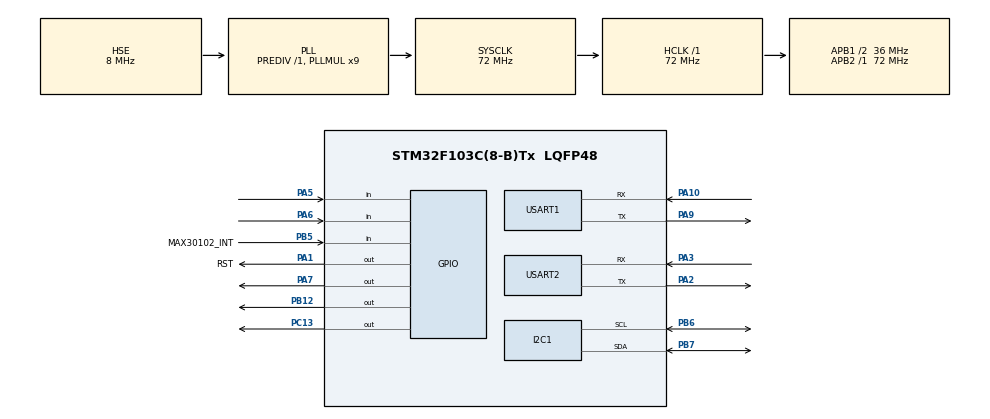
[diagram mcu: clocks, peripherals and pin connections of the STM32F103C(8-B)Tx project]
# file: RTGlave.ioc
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Mcu.Family=STM32F1
Mcu.Name=STM32F103C(8-B)Tx
Mcu.Package=LQFP48
NVIC.PriorityGroup=NVIC_PRIORITYGROUP_4
NVIC.TIM4_IRQn=true\:15\:0\:false\:false\:true\:false\:false\:true\:true
NVIC.TimeBase=TIM4_IRQn
NVIC.TimeBaseIP=TIM4
NVIC.USART2_IRQn=true\:0\:0\:false\:false\:true\:false\:true\:true\:true
PA1.GPIO_Label=RST
PA1.Signal=GPIO_Output
PA10.Mode=Asynchronous
PA10.Signal=USART1_RX
PA13.Mode=Serial_Wire
PA13.Signal=SYS_JTMS-SWDIO
PA14.Mode=Serial_Wire
PA14.Signal=SYS_JTCK-SWCLK
PA2.Mode=Asynchronous
PA2.Signal=USART2_TX
PA3.Mode=Asynchronous
PA3.Signal=USART2_RX
PA5.GPIO_PuPd=GPIO_PULLUP
PA5.Signal=GPIO_Input
PA6.GPIO_PuPd=GPIO_PULLUP
PA6.Signal=GPIO_Input
PA7.PinState=GPIO_PIN_RESET
PA7.Signal=GPIO_Output
PA9.Mode=Asynchronous
PA9.Signal=USART1_TX
PB12.Signal=GPIO_Output
PB5.GPIO_Label=MAX30102_INT
PB5.Signal=GPIO_Input
PB6.Mode=I2C
PB6.Signal=I2C1_SCL
PB7.Mode=I2C
PB7.Signal=I2C1_SDA
PC13-TAMPER-RTC.PinState=GPIO_PIN_RESET
PC13-TAMPER-RTC.Signal=GPIO_Output
PD0-OSC_IN.Mode=HSE-External-Oscillator
PD0-OSC_IN.Signal=RCC_OSC_IN
PD1-OSC_OUT.Mode=HSE-External-Oscillator
PD1-OSC_OUT.Signal=RCC_OSC_OUT
ProjectManager.HeapSize=0x200
ProjectManager.StackSize=0x400
ProjectManager.TargetToolchain=CMake
RCC.AHBFreq_Value=72000000
RCC.APB1CLKDivider=RCC_HCLK_DIV2
RCC.APB1Freq_Value=36000000
RCC.APB1TimFreq_Value=72000000
RCC.APB2Freq_Value=72000000
RCC.APB2TimFreq_Value=72000000
RCC.HCLKFreq_Value=72000000
RCC.PLLMUL=RCC_PLL_MUL9
RCC.PLLSourceVirtual=RCC_PLLSOURCE_HSE
RCC.SYSCLKFreq_VALUE=72000000
RCC.SYSCLKSource=RCC_SYSCLKSOURCE_PLLCLK
RCC.USBFreq_Value=72000000
RealThread.X-CUBE-RT-Thread_Nano.4.1.1.RTAaThreadCcRTOSJjkernel=true
RealThread.X-CUBE-RT-Thread_Nano.4.1.1.RTAaThreadCcRTOSJjlibcpu=true
RealThread.X-CUBE-RT-Thread_Nano.4.1.1.RT_DEBUG=1
RealThread.X-CUBE-RT-Thread_Nano.4.1.1.RT_USING_COMPONENTS_INIT=1
RealThread.X-CUBE-RT-Thread_Nano.4.1.1.RT_USING_CONSOLE=0
RealThread.X-CUBE-RT-Thread_Nano.4.1.1.RT_USING_EVENT=0
RealThread.X-CUBE-RT-Thread_Nano.4.1.1.RT_USING_FINSH=0
RealThread.X-CUBE-RT-Thread_Nano.4.1.1.RT_USING_MUTEX=1
RealThread.X-CUBE-RT-Thread_Nano.4.1.1.RT_USING_SEMAPHORE=0
RealThread.X-CUBE-RT-Thread_Nano.4.1.1.RT_USING_USER_MAIN=0
USART1.VirtualMode=VM_ASYNC
USART2.VirtualMode=VM_ASYNC
VP_RealThread.X-CUBE-RT-Thread_Nano_VS_RTOSJjRTAaThread_4.1.1_4.1.1.Mode=RTOSJjRTAaThread
VP_SYS_VS_tim4.Mode=TIM4
board=custom

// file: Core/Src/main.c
/* USER CODE BEGIN Header */
/**
  ******************************************************************************
  * @file           : main.c
  * @brief          : Main program body
  ******************************************************************************
  * @attention
  *
  * Copyright (c) 2026 STMicroelectronics.
  * All rights reserved.
  *
  * This software is licensed under terms that can be found in the LICENSE file
  * in the root directory of this software component.
  * If no LICENSE file comes with this software, it is provided AS-IS.
  *
  ******************************************************************************
  */
/* USER CODE END Header */
#include "main.h"

/* USER CODE BEGIN Includes */
#include "rtdef.h"
#include "rtthread.h"
#include "rthw.h"
#include "glave.h"
/* USER CODE END Includes */

I2C_HandleTypeDef hi2c1;

UART_HandleTypeDef huart1;
UART_HandleTypeDef huart2;

/* USER CODE BEGIN PV */

struct rt_thread thread_pool[3];
rt_thread_t th_input, th_main, th_fuck;

static uint8_t stack0[512];
static uint8_t stack1[4096];
static uint8_t stack2[4096];
static uint8_t stack3[256];

volatile uint32_t channel;

/* USER CODE END PV */

void SystemClock_Config(void);
static void MX_GPIO_Init(void);
static void MX_USART2_UART_Init(void);
static void MX_I2C1_Init(void);
static void MX_USART1_UART_Init(void);
/* USER CODE BEGIN PFP */
static void rtos_startup();
extern void app4(void*);
extern void led_blink (void *param);
/* USER CODE END PFP */

/* USER CODE BEGIN 0 */
void rtos_startup() {
  rt_base_t level = rt_hw_interrupt_disable();
  HAL_SYSTICK_Config(HAL_RCC_GetHCLKFreq()/RT_TICK_PER_SECOND);
  //rt_components_board_init();
  rt_system_timer_init();
  rt_system_scheduler_init();
  rt_thread_idle_init();

  /* tasks initialization */

  th_input = &thread_pool[0];
  th_main = &thread_pool[1];
  th_fuck = &thread_pool[2];
  struct rt_thread blink;
  rt_thread_init(th_input, "input", input_monitor, (void *)&channel, stack0, sizeof stack0, 4, 5);
  rt_thread_init(th_main, "glvmain", glave_main, (void *)&channel, stack1, sizeof stack1, 5, 5);
  rt_thread_init(th_fuck, "fuck", app4, NULL, stack2, sizeof stack1, 5, 5);
  rt_thread_init(&blink, "blink", led_blink, NULL, stack3, sizeof(stack3), 5, 5);
  rt_thread_startup(th_main);
  rt_thread_startup(th_fuck);
  rt_thread_startup(&blink);

  /* end */

  rt_hw_interrupt_enable(level);
  rt_system_scheduler_start();
}
/* USER CODE END 0 */

int main(void)
{

  /* MCU Configuration--------------------------------------------------------*/

  /* Reset of all peripherals, Initializes the Flash interface and the Systick. */
  HAL_Init();

  /* Configure the system clock */
  SystemClock_Config();

  /* Initialize all configured peripherals */
  MX_GPIO_Init();
  MX_USART2_UART_Init();
  MX_I2C1_Init();
  MX_USART1_UART_Init();
  /* USER CODE BEGIN 2 */
  rtos_startup();
  /* USER CODE END 2 */

  /* Infinite loop */
  while (1)
  {

  }
}

void SystemClock_Config(void)
{
  RCC_OscInitTypeDef RCC_OscInitStruct = {0};
  RCC_ClkInitTypeDef RCC_ClkInitStruct = {0};

  /** Initializes the RCC Oscillators according to the specified parameters
  * in the RCC_OscInitTypeDef structure.
  */
  RCC_OscInitStruct.OscillatorType = RCC_OSCILLATORTYPE_HSE;
  RCC_OscInitStruct.HSEState = RCC_HSE_ON;
  RCC_OscInitStruct.HSEPredivValue = RCC_HSE_PREDIV_DIV1;
  RCC_OscInitStruct.HSIState = RCC_HSI_ON;
  RCC_OscInitStruct.PLL.PLLState = RCC_PLL_ON;
  RCC_OscInitStruct.PLL.PLLSource = RCC_PLLSOURCE_HSE;
  RCC_OscInitStruct.PLL.PLLMUL = RCC_PLL_MUL9;
  if (HAL_RCC_OscConfig(&RCC_OscInitStruct) != HAL_OK)
  {
    Error_Handler();
  }

  /** Initializes the CPU, AHB and APB buses clocks
  */
  RCC_ClkInitStruct.ClockType = RCC_CLOCKTYPE_HCLK|RCC_CLOCKTYPE_SYSCLK
                              |RCC_CLOCKTYPE_PCLK1|RCC_CLOCKTYPE_PCLK2;
  RCC_ClkInitStruct.SYSCLKSource = RCC_SYSCLKSOURCE_PLLCLK;
  RCC_ClkInitStruct.AHBCLKDivider = RCC_SYSCLK_DIV1;
  RCC_ClkInitStruct.APB1CLKDivider = RCC_HCLK_DIV2;
  RCC_ClkInitStruct.APB2CLKDivider = RCC_HCLK_DIV1;

  if (HAL_RCC_ClockConfig(&RCC_ClkInitStruct, FLASH_LATENCY_2) != HAL_OK)
  {
    Error_Handler();
  }
}

static void MX_I2C1_Init(void)
{

  hi2c1.Instance = I2C1;
  hi2c1.Init.ClockSpeed = 100000;
  hi2c1.Init.DutyCycle = I2C_DUTYCYCLE_2;
  hi2c1.Init.OwnAddress1 = 0;
  hi2c1.Init.AddressingMode = I2C_ADDRESSINGMODE_7BIT;
  hi2c1.Init.DualAddressMode = I2C_DUALADDRESS_DISABLE;
  hi2c1.Init.OwnAddress2 = 0;
  hi2c1.Init.GeneralCallMode = I2C_GENERALCALL_DISABLE;
  hi2c1.Init.NoStretchMode = I2C_NOSTRETCH_DISABLE;
  if (HAL_I2C_Init(&hi2c1) != HAL_OK)
  {
    Error_Handler();
  }

}

static void MX_USART1_UART_Init(void)
{

  huart1.Instance = USART1;
  huart1.Init.BaudRate = 115200;
  huart1.Init.WordLength = UART_WORDLENGTH_8B;
  huart1.Init.StopBits = UART_STOPBITS_1;
  huart1.Init.Parity = UART_PARITY_NONE;
  huart1.Init.Mode = UART_MODE_TX_RX;
  huart1.Init.HwFlowCtl = UART_HWCONTROL_NONE;
  huart1.Init.OverSampling = UART_OVERSAMPLING_16;
  if (HAL_UART_Init(&huart1) != HAL_OK)
  {
    Error_Handler();
  }

}

static void MX_USART2_UART_Init(void)
{

  huart2.Instance = USART2;
  huart2.Init.BaudRate = 115200;
  huart2.Init.WordLength = UART_WORDLENGTH_8B;
  huart2.Init.StopBits = UART_STOPBITS_1;
  huart2.Init.Parity = UART_PARITY_NONE;
  huart2.Init.Mode = UART_MODE_TX_RX;
  huart2.Init.HwFlowCtl = UART_HWCONTROL_NONE;
  huart2.Init.OverSampling = UART_OVERSAMPLING_16;
  if (HAL_UART_Init(&huart2) != HAL_OK)
  {
    Error_Handler();
  }

}

static void MX_GPIO_Init(void)
{
  GPIO_InitTypeDef GPIO_InitStruct = {0};

  /* GPIO Ports Clock Enable */
  __HAL_RCC_GPIOC_CLK_ENABLE();
  __HAL_RCC_GPIOD_CLK_ENABLE();
  __HAL_RCC_GPIOA_CLK_ENABLE();
  __HAL_RCC_GPIOB_CLK_ENABLE();

  /*Configure GPIO pin Output Level */
  HAL_GPIO_WritePin(GPIOC, GPIO_PIN_13, GPIO_PIN_RESET);

  /*Configure GPIO pin Output Level */
  HAL_GPIO_WritePin(GPIOA, RST_Pin|GPIO_PIN_7, GPIO_PIN_RESET);

  /*Configure GPIO pin Output Level */
  HAL_GPIO_WritePin(GPIOB, GPIO_PIN_12, GPIO_PIN_RESET);

  /*Configure GPIO pin : PC13 */
  GPIO_InitStruct.Pin = GPIO_PIN_13;
  GPIO_InitStruct.Mode = GPIO_MODE_OUTPUT_PP;
  GPIO_InitStruct.Pull = GPIO_NOPULL;
  GPIO_InitStruct.Speed = GPIO_SPEED_FREQ_LOW;
  HAL_GPIO_Init(GPIOC, &GPIO_InitStruct);

  /*Configure GPIO pins : RST_Pin PA7 */
  GPIO_InitStruct.Pin = RST_Pin|GPIO_PIN_7;
  GPIO_InitStruct.Mode = GPIO_MODE_OUTPUT_PP;
  GPIO_InitStruct.Pull = GPIO_NOPULL;
  GPIO_InitStruct.Speed = GPIO_SPEED_FREQ_LOW;
  HAL_GPIO_Init(GPIOA, &GPIO_InitStruct);

  /*Configure GPIO pins : PA5 PA6 */
  GPIO_InitStruct.Pin = GPIO_PIN_5|GPIO_PIN_6;
  GPIO_InitStruct.Mode = GPIO_MODE_INPUT;
  GPIO_InitStruct.Pull = GPIO_PULLUP;
  HAL_GPIO_Init(GPIOA, &GPIO_InitStruct);

  /*Configure GPIO pin : PB12 */
  GPIO_InitStruct.Pin = GPIO_PIN_12;
  GPIO_InitStruct.Mode = GPIO_MODE_OUTPUT_PP;
  GPIO_InitStruct.Pull = GPIO_NOPULL;
  GPIO_InitStruct.Speed = GPIO_SPEED_FREQ_LOW;
  HAL_GPIO_Init(GPIOB, &GPIO_InitStruct);

  /*Configure GPIO pin : MAX30102_INT_Pin */
  GPIO_InitStruct.Pin = MAX30102_INT_Pin;
  GPIO_InitStruct.Mode = GPIO_MODE_INPUT;
  GPIO_InitStruct.Pull = GPIO_NOPULL;
  HAL_GPIO_Init(MAX30102_INT_GPIO_Port, &GPIO_InitStruct);

}

void HAL_TIM_PeriodElapsedCallback(TIM_HandleTypeDef *htim)
{
  if (htim->Instance == TIM4)
  {
    HAL_IncTick();
  }
}

void Error_Handler(void)
{
  __disable_irq();
  while (1)
  {
  }
}
